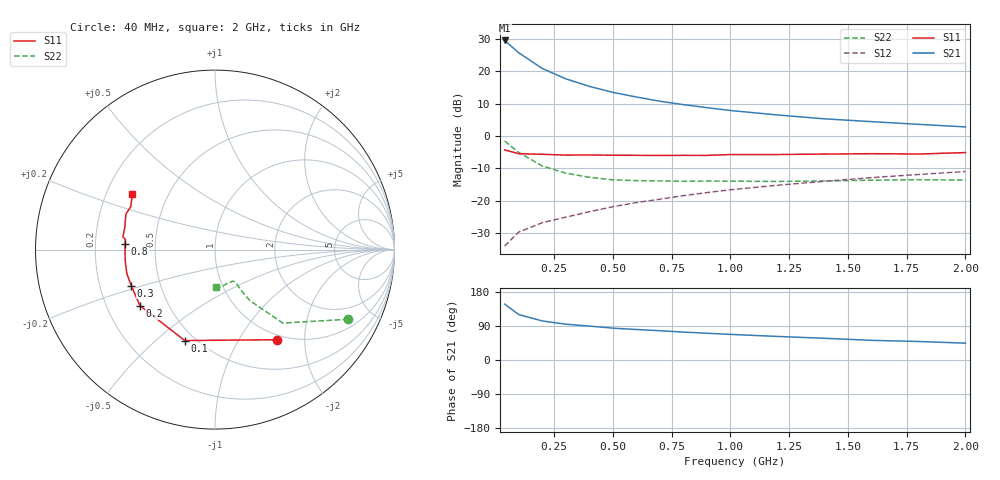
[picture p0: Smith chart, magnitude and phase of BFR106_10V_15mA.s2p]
! Filename:  BFR106E.S2P  Version:  2.0
! Philips part #: BFR106  Date: Jun 1990
! Bias condition: Vce=10V, Ic=15mA
#  MHz  S  MA  R  50
! Freq  S11  S21  S12  S22  !GUM [dB]
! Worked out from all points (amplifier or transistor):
!   16 points, 40 MHz to 2 GHz, reference 50 ohm
!   highest |S21| = 29.5 dB at 40 MHz (marker M1)
!   |S21| within 3 dB of that: start of sweep to 87.44 MHz
!   unconditionally stable (mu >= 1): 459.4 MHz to 1.846 GHz
!   at 200 MHz: K = 0.71, MSG = 23.8 dB, |S12| = -26.7 dB
!   at 800 MHz: K = 1.07, MAG = 12.4 dB, |S12| = -18.4 dB
!   at 2 GHz: K = 0.97, MSG = 6.9 dB, |S12| = -11.0 dB
!   S11 on the Smith chart (normalised r, x): 40 MHz: 0.92, -1.48; 100 MHz: 0.44, -0.62; 200 MHz: 0.35, -0.30; 300 MHz: 0.34, -0.18; 800 MHz: 0.33, +0.03; 2 GHz: 0.31, +0.28
40  0.61 -55.4  29.73 147.5  0.02 67.8  0.838 -27.6
100  0.534 -108.4  19.21 119.9  0.033 54.9  0.557 -47.3
200  0.522 -143.2  11.01 103.1  0.046 54.8  0.345 -55.6
300  0.508 -156.7  7.618 94.5  0.056 56.7  0.267 -57.4
400  0.509 -164.6  5.828 89.5  0.068 61.2  0.231 -57.6
500  0.505 -170.5  4.713 84.1  0.081 63.7  0.211 -58.2
600  0.503 -174.3  3.996 80.5  0.094 65.8  0.205 -59.5
700  0.501 -178.9  3.435 77.3  0.106 66.7  0.203 -60.6
800  0.503 176.5  3.048 73.7  0.12 67.1  0.2 -61.6
900  0.502 173.6  2.737 70.6  0.134 68.5  0.202 -62.7
1000  0.518 172.1  2.472 67.6  0.148 68.3  0.201 -64.0
1200  0.518 165.6  2.111 62.2  0.174 68.4  0.199 -68.3
1400  0.526 161.7  1.84 57.3  0.2 67.7  0.203 -73.8
1600  0.534 158.3  1.665 51.9  0.228 67.8  0.208 -77.8
1800  0.527 152.9  1.513 48.9  0.255 66.7  0.212 -83.1
2000  0.555 146.0  1.381 44.4  0.283 65.8  0.209 -88.1
